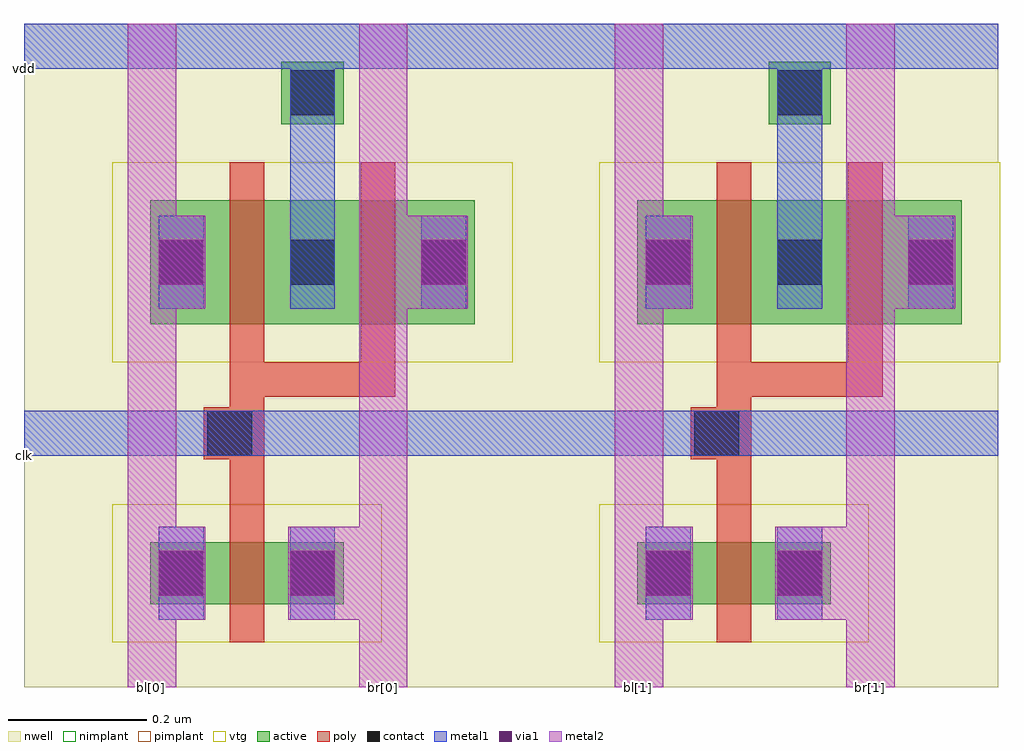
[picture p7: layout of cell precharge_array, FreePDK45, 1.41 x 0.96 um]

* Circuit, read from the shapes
.subckt precharge_array bl[0] bl[1] br[0] br[1] clk vdd
M1 br[0] clk bl[0] vdd pfet w=0.09u l=0.05u
M2 vdd clk bl[0] vdd pfet w=0.18u l=0.05u
M3 br[0] clk vdd vdd pfet w=0.18u l=0.05u
M4 br[1] clk bl[1] vdd pfet w=0.09u l=0.05u
M5 vdd clk bl[1] vdd pfet w=0.18u l=0.05u
M6 br[1] clk vdd vdd pfet w=0.18u l=0.05u
.ends

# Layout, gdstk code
from math import pi, radians
import gdstk
lib = gdstk.Library(unit=1e-6, precision=5e-10)
def R(c, l, rs):  # rectangles x0, y0, x1, y1
    for r in rs: c.add(gdstk.rectangle(r[:2], r[2:], *l))
active = (1, 0)
nwell = (3, 0)
nimplant = (4, 0)
pimplant = (5, 0)
vtg = (6, 0)
poly = (9, 0)
contact = (10, 0)
metal1 = (11, 0)
via1 = (12, 0)
metal2 = (13, 0)

contact_1x1_num12392 = lib.new_cell('contact_1x1_num12392')
R(contact_1x1_num12392, active, [(0,0.0225,0.09,0.1125)])
R(contact_1x1_num12392, contact, [(0.0125,0.035,0.0775,0.1)])
R(contact_1x1_num12392, metal1, [(0.0125,0,0.0775,0.135)])

contact_1x1_num12393 = lib.new_cell('contact_1x1_num12393')
R(contact_1x1_num12393, active, [(0,0.0225,0.09,0.1125)])
R(contact_1x1_num12393, contact, [(0.0125,0.035,0.0775,0.1)])
R(contact_1x1_num12393, metal1, [(0.0125,0,0.0775,0.135)])

lower_pmos849 = lib.new_cell('lower_pmos849')
R(lower_pmos849, active, [(0.055,0.055,0.335,0.145)])
R(lower_pmos849, nwell, [(0,0,0.39,0.2)])
R(lower_pmos849, pimplant, [(0.055,0.055,0.335,0.145)])
R(lower_pmos849, vtg, [(0,0,0.39,0.2)])
R(lower_pmos849, poly, [(0.17,0,0.22,0.2)])
lower_pmos849.add(gdstk.Reference(contact_1x1_num12392, (0.055,0.0325)))
lower_pmos849.add(gdstk.Reference(contact_1x1_num12393, (0.245,0.0325)))

contact_1x1_num12395 = lib.new_cell('contact_1x1_num12395')
R(contact_1x1_num12395, active, [(0,0.0225,0.09,0.1125)])
R(contact_1x1_num12395, contact, [(0.0125,0.035,0.0775,0.1)])
R(contact_1x1_num12395, metal1, [(0.0125,0,0.0775,0.135)])

contact_1x1_num12396 = lib.new_cell('contact_1x1_num12396')
R(contact_1x1_num12396, active, [(0,0.0225,0.09,0.1125)])
R(contact_1x1_num12396, contact, [(0.0125,0.035,0.0775,0.1)])
R(contact_1x1_num12396, metal1, [(0.0125,0,0.0775,0.135)])

upper_pmos850 = lib.new_cell('upper_pmos850')
R(upper_pmos850, active, [(0.055,0.055,0.335,0.235)])
R(upper_pmos850, nwell, [(0,0,0.39,0.29)])
R(upper_pmos850, pimplant, [(0.055,0.055,0.335,0.235)])
R(upper_pmos850, vtg, [(0,0,0.39,0.29)])
R(upper_pmos850, poly, [(0.17,0,0.22,0.29)])
upper_pmos850.add(gdstk.Reference(contact_1x1_num12395, (0.055,0.0775)))
upper_pmos850.add(gdstk.Reference(contact_1x1_num12396, (0.245,0.0775)))

contact_1x1_num12405 = lib.new_cell('contact_1x1_num12405')
R(contact_1x1_num12405, poly, [(0,0.03,0.075,0.105)])
R(contact_1x1_num12405, contact, [(0.005,0.035,0.07,0.1)])
R(contact_1x1_num12405, metal1, [(0.005,0,0.07,0.135)])

contact_1x1_num12406 = lib.new_cell('contact_1x1_num12406')
R(contact_1x1_num12406, active, [(0,0.0225,0.09,0.1125)])
R(contact_1x1_num12406, contact, [(0.0125,0.035,0.0775,0.1)])
R(contact_1x1_num12406, metal1, [(0.0125,0,0.0775,0.135)])

via1_1x1_num12407 = lib.new_cell('via1_1x1_num12407')
R(via1_1x1_num12407, metal1, [(0.0025,0,0.0675,0.135)])
R(via1_1x1_num12407, via1, [(0.0025,0.035,0.0675,0.1)])
R(via1_1x1_num12407, metal2, [(0,0,0.07,0.135)])

via1_1x1_num12408 = lib.new_cell('via1_1x1_num12408')
R(via1_1x1_num12408, metal1, [(0.0025,0,0.0675,0.135)])
R(via1_1x1_num12408, via1, [(0.0025,0.035,0.0675,0.1)])
R(via1_1x1_num12408, metal2, [(0,0,0.07,0.135)])

via1_1x1_num12409 = lib.new_cell('via1_1x1_num12409')
R(via1_1x1_num12409, metal1, [(0.0025,0,0.0675,0.135)])
R(via1_1x1_num12409, via1, [(0.0025,0.035,0.0675,0.1)])
R(via1_1x1_num12409, metal2, [(0,0,0.07,0.135)])

via1_1x1_num12410 = lib.new_cell('via1_1x1_num12410')
R(via1_1x1_num12410, metal1, [(0.0025,0,0.0675,0.135)])
R(via1_1x1_num12410, via1, [(0.0025,0.035,0.0675,0.1)])
R(via1_1x1_num12410, metal2, [(0,0,0.07,0.135)])

precharge_cell = lib.new_cell('precharge_cell')
R(precharge_cell, nwell, [(0,0,0.705,0.96)])
R(precharge_cell, nimplant, [(0.3725,0.815,0.4625,0.905)])
R(precharge_cell, poly, [(0.2975,0.265,0.3475,0.47), (0.2975,0.42,0.5375,0.47)])
R(precharge_cell, metal1, [(0,0.335,0.705,0.4), (0.385,0.5475,0.45,0.96), (0,0.895,0.705,0.96)])
R(precharge_cell, metal2, [(0.15,0,0.22,0.96), (0.485,0,0.555,0.96), (0.185,0.0975,0.23,0.2325), (0.385,0.0975,0.485,0.2325), (0.185,0.5475,0.2275,0.6825), (0.485,0.5475,0.5725,0.6825)])
precharge_cell.add(gdstk.Reference(lower_pmos849, (0.1275,0.065)))
precharge_cell.add(gdstk.Reference(upper_pmos850, (0.1275,0.47)))
precharge_cell.add(gdstk.Reference(upper_pmos850, (0.3175,0.47)))
precharge_cell.add(gdstk.Reference(contact_1x1_num12405, (0.365,0.33), rotation=pi/2))
precharge_cell.add(gdstk.Reference(contact_1x1_num12406, (0.3725,0.7925)))
precharge_cell.add(gdstk.Reference(via1_1x1_num12407, (0.1925,0.5475)))
precharge_cell.add(gdstk.Reference(via1_1x1_num12408, (0.5725,0.5475)))
precharge_cell.add(gdstk.Reference(via1_1x1_num12409, (0.1925,0.0975)))
precharge_cell.add(gdstk.Reference(via1_1x1_num12410, (0.3825,0.0975)))
precharge_cell.add(gdstk.Label('clk', (0,0.335), layer=11, texttype=0))
precharge_cell.add(gdstk.Label('vdd', (0,0.895), layer=11, texttype=0))
precharge_cell.add(gdstk.Label('bl', (0.15,0), layer=13, texttype=0))
precharge_cell.add(gdstk.Label('br', (0.485,0), layer=13, texttype=0))

precharge_array = lib.new_cell('precharge_array')
R(precharge_array, metal1, [(0,0.335,1.41,0.4), (0,0.895,1.41,0.96)])
precharge_array.add(gdstk.Reference(precharge_cell, (0,0)))
precharge_array.add(gdstk.Reference(precharge_cell, (0.705,0)))
precharge_array.add(gdstk.Label('bl[0]', (0.185,0), layer=13, texttype=0))
precharge_array.add(gdstk.Label('br[0]', (0.52,0), layer=13, texttype=0))
precharge_array.add(gdstk.Label('bl[1]', (0.89,0), layer=13, texttype=0))
precharge_array.add(gdstk.Label('br[1]', (1.225,0), layer=13, texttype=0))
precharge_array.add(gdstk.Label('vdd', (0,0.895), layer=11, texttype=0))
precharge_array.add(gdstk.Label('clk', (0,0.335), layer=11, texttype=0))

lib.write_gds('precharge_array.gds')
